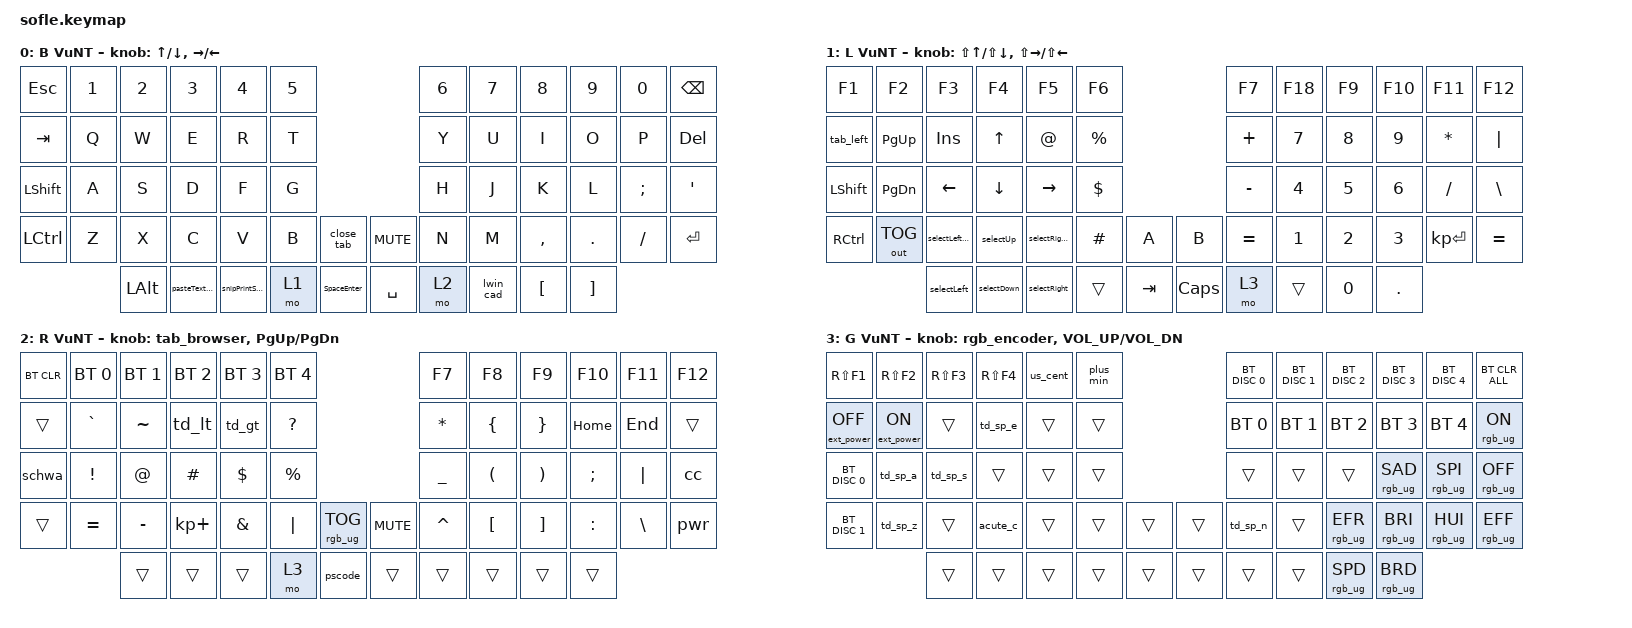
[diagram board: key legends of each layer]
/*
 * Copyright (c) 2020 The ZMK Contributors
 *
 * SPDX-License-Identifier: MIT
 */

#include <behaviors.dtsi>
#include <dt-bindings/zmk/bt.h>
#include <dt-bindings/zmk/ext_power.h>
#include <dt-bindings/zmk/keys.h>
#include <dt-bindings/zmk/outputs.h>
#include <dt-bindings/zmk/rgb.h>
#include <dt-bindings/zmk/pointing.h>
//Encoder Support
//Alps Alpine EC11N1524402: 30 Detent, 15PPR, 2 Channel, Quadrature, 15000 Cycle

/ {
    left_encoder: encoder_left {
        compatible = "alps,ec11";
        a-gpios = <&pro_micro 21 (GPIO_ACTIVE_HIGH | GPIO_PULL_UP)>;
        b-gpios = <&pro_micro 20 (GPIO_ACTIVE_HIGH | GPIO_PULL_UP)>;
        steps = <60>;
    };

    right_encoder: encoder_right {
        compatible = "alps,ec11";
        a-gpios = <&pro_micro 21 (GPIO_ACTIVE_HIGH | GPIO_PULL_UP)>;
        b-gpios = <&pro_micro 20 (GPIO_ACTIVE_HIGH | GPIO_PULL_UP)>;
        steps = <60>;
    };

    sensors {
        compatible = "zmk,keymap-sensors";
        sensors = <&left_encoder &right_encoder>;
        triggers-per-rotation = <30>;
    };
};

/ {
    macros {
        // System and Power

        tm: tm {
            compatible = "zmk,behavior-macro";
            #binding-cells = <0>;
            bindings =
                <&macro_press>,
                <&kp LCTRL &kp LSHFT>,
                <&macro_tap>,
                <&kp ESC>,
                <&macro_release>,
                <&kp LCTRL &kp LSHFT &kp RCTRL &kp K_SCROLL_DOWN &kp RCTRL &kp K_SCROLL_UP>;
        };

        cad: cad {
            compatible = "zmk,behavior-macro";
            #binding-cells = <0>;
            bindings =
                <&macro_press>,
                <&kp LCTRL &kp LALT &kp DEL>,
                <&macro_release>,
                <&kp LCTRL &kp LALT &kp DEL>;
        };

        slp: slp {
            compatible = "zmk,behavior-macro";
            #binding-cells = <0>;
            bindings =
                <&macro_press>,
                <&kp LGUI>,
                <&macro_tap>,
                <&kp X>,
                <&macro_release>,
                <&kp LGUI>,
                <&macro_tap>,
                <&kp U &kp S>;
        };

        rst: rst {
            compatible = "zmk,behavior-macro";
            #binding-cells = <0>;
            bindings =
                <&macro_press>,
                <&kp LGUI>,
                <&macro_tap>,
                <&kp X>,
                <&macro_release>,
                <&kp LGUI>,
                <&macro_tap>,
                <&kp U &kp R>;
        };

        off: off {
            compatible = "zmk,behavior-macro";
            #binding-cells = <0>;
            bindings =
                <&macro_press>,
                <&kp LGUI>,
                <&macro_tap>,
                <&kp X>,
                <&macro_release>,
                <&kp LGUI>,
                <&macro_tap>,
                <&kp U &kp U>;
        };

        // Microphones

        teams_mute: teams_mute {
            compatible = "zmk,behavior-macro";
            #binding-cells = <0>;
            tap-ms = <0>;
            wait-ms = <0>;
            bindings =
                <&macro_tap>,
                <&bt BT_SEL 1>,
                <&macro_wait_time 100>,
                <&macro_press>,
                <&kp LGUI>,
                <&macro_tap>,
                <&kp N3>,
                <&macro_release>,
                <&kp LGUI>,
                <&macro_wait_time 50>,
                <&macro_press>,
                <&kp LCTRL &kp LSHFT>,
                <&macro_tap>,
                <&kp M>,
                <&macro_release>,
                <&kp LCTRL &kp LSHFT>;
        };

        // Browser Controls

        tab_right: tab_right {
            compatible = "zmk,behavior-macro";
            #binding-cells = <0>;
            wait-ms = <0>;
            tap-ms = <0>;
            bindings =
                <&macro_press>,
                <&kp LCTRL>,
                <&macro_tap>,
                <&kp TAB>,
                <&macro_release>,
                <&kp LCTRL>;
        };

        tab_left: tab_left {
            compatible = "zmk,behavior-macro";
            #binding-cells = <0>;
            wait-ms = <0>;
            tap-ms = <0>;
            bindings =
                <&macro_press>,
                <&kp LCTRL &kp LSHFT>,
                <&macro_tap>,
                <&kp TAB>,
                <&macro_release>,
                <&kp LCTRL &kp LSHFT>;
        };

        close_tab: close_tab {
            compatible = "zmk,behavior-macro";
            #binding-cells = <0>;
            wait-ms = <0>;
            tap-ms = <0>;
            bindings =
                <&macro_press>,
                <&kp LCTRL>,
                <&macro_tap>,
                <&kp W>,
                <&macro_release>,
                <&kp LCTRL>;
        };

        //Unicode Special Characters
        //Need regkey HKEY_CURRENT_USER\Control Panel\Input Method, REG_SZ EnableHexNumpad = 1
        //Symbols       

        smfada_a: smfada_a {
            compatible = "zmk,behavior-macro";
            #binding-cells = <0>;
            tap-ms = <0>;
            wait-ms = <0>;
            bindings =
                <&macro_press>,
                <&kp LALT>,
                <&macro_tap>,
                <&kp KP_PLUS &kp KP_N0 &kp KP_N0 &kp E &kp KP_N1>,
                <&macro_release>,
                <&kp LALT>;
        };

        lfada_a: lfada_a {
            compatible = "zmk,behavior-macro";
            #binding-cells = <0>;
            tap-ms = <0>;
            wait-ms = <0>;
            bindings =
                <&macro_press>,
                <&kp LALT>,
                <&macro_tap>,
                <&kp KP_PLUS &kp KP_N0 &kp KP_N0 &kp C &kp KP_N1>,
                <&macro_release>,
                <&kp LALT>;
        };

        smumlaut_a: smumlaut_a {
            compatible = "zmk,behavior-macro";
            #binding-cells = <0>;
            tap-ms = <0>;
            wait-ms = <0>;
            bindings =
                <&macro_press>,
                <&kp LALT>,
                <&macro_tap>,
                <&kp KP_PLUS &kp KP_N0 &kp KP_N0 &kp E &kp KP_N4>,
                <&macro_release>,
                <&kp LALT>;
        };

        lumlaut_a: lumlaut_a {
            compatible = "zmk,behavior-macro";
            #binding-cells = <0>;
            tap-ms = <0>;
            wait-ms = <0>;
            bindings =
                <&macro_press>,
                <&kp LALT>,
                <&macro_tap>,
                <&kp KP_PLUS &kp KP_N0 &kp KP_N0 &kp C &kp KP_N4>,
                <&macro_release>,
                <&kp LALT>;
        };

        smlat_ae: smlat_ae {
            compatible = "zmk,behavior-macro";
            #binding-cells = <0>;
            tap-ms = <0>;
            wait-ms = <0>;
            bindings =
                <&macro_press>,
                <&kp LALT>,
                <&macro_tap>,
                <&kp KP_PLUS &kp KP_N0 &kp KP_N0 &kp E &kp KP_N6>,
                <&macro_release>,
                <&kp LALT>;
        };

        lglat_ae: lglat_ae {
            compatible = "zmk,behavior-macro";
            #binding-cells = <0>;
            tap-ms = <0>;
            wait-ms = <0>;
            bindings =
                <&macro_press>,
                <&kp LALT>,
                <&macro_tap>,
                <&kp KP_PLUS &kp KP_N0 &kp KP_N0 &kp C &kp KP_N6>,
                <&macro_release>,
                <&kp LALT>;
        };

        smfada_e: smfada_e {
            compatible = "zmk,behavior-macro";
            #binding-cells = <0>;
            tap-ms = <0>;
            wait-ms = <0>;
            bindings =
                <&macro_press>,
                <&kp LALT>,
                <&macro_tap>,
                <&kp KP_PLUS &kp KP_N0 &kp KP_N0 &kp E &kp KP_N9>,
                <&macro_release>,
                <&kp LALT>;
        };

        lfada_e: lfada_e {
            compatible = "zmk,behavior-macro";
            #binding-cells = <0>;
            tap-ms = <0>;
            wait-ms = <0>;
            bindings =
                <&macro_press>,
                <&kp LALT>,
                <&macro_tap>,
                <&kp KP_PLUS &kp KP_N0 &kp KP_N0 &kp C &kp KP_N9>,
                <&macro_release>,
                <&kp LALT>;
        };

        smfada_i: smfada_i {
            compatible = "zmk,behavior-macro";
            #binding-cells = <0>;
            tap-ms = <0>;
            wait-ms = <0>;
            bindings =
                <&macro_press>,
                <&kp LALT>,
                <&macro_tap>,
                <&kp KP_PLUS &kp KP_N0 &kp KP_N0 &kp E &kp D>,
                <&macro_release>,
                <&kp LALT>;
        };

        lfada_i: lfada_i {
            compatible = "zmk,behavior-macro";
            #binding-cells = <0>;
            tap-ms = <0>;
            wait-ms = <0>;
            bindings =
                <&macro_press>,
                <&kp LALT>,
                <&macro_tap>,
                <&kp KP_PLUS &kp KP_N0 &kp KP_N0 &kp C &kp D>,
                <&macro_release>,
                <&kp LALT>;
        };

        smfada_o: smfada_o {
            compatible = "zmk,behavior-macro";
            #binding-cells = <0>;
            tap-ms = <0>;
            wait-ms = <0>;
            bindings =
                <&macro_press>,
                <&kp LALT>,
                <&macro_tap>,
                <&kp KP_PLUS &kp KP_N0 &kp KP_N0 &kp F &kp KP_N3>,
                <&macro_release>,
                <&kp LALT>;
        };

        lfada_o: lfada_o {
            compatible = "zmk,behavior-macro";
            #binding-cells = <0>;
            tap-ms = <0>;
            wait-ms = <0>;
            bindings =
                <&macro_press>,
                <&kp LALT>,
                <&macro_tap>,
                <&kp KP_PLUS &kp KP_N0 &kp KP_N0 &kp D &kp KP_N3>,
                <&macro_release>,
                <&kp LALT>;
        };

        smumlaut_o: smumlaut_o {
            compatible = "zmk,behavior-macro";
            #binding-cells = <0>;
            tap-ms = <0>;
            wait-ms = <0>;
            bindings =
                <&macro_press>,
                <&kp LALT>,
                <&macro_tap>,
                <&kp KP_PLUS &kp KP_N0 &kp KP_N0 &kp F &kp KP_N6>,
                <&macro_release>,
                <&kp LALT>;
        };

        lumlaut_o: lumlaut_o {
            compatible = "zmk,behavior-macro";
            #binding-cells = <0>;
            tap-ms = <0>;
            wait-ms = <0>;
            bindings =
                <&macro_press>,
                <&kp LALT>,
                <&macro_tap>,
                <&kp KP_PLUS &kp KP_N0 &kp KP_N0 &kp D &kp KP_N6>,
                <&macro_release>,
                <&kp LALT>;
        };

        smfada_u: smfada_u {
            compatible = "zmk,behavior-macro";
            #binding-cells = <0>;
            tap-ms = <0>;
            wait-ms = <0>;
            bindings =
                <&macro_press>,
                <&kp LALT>,
                <&macro_tap>,
                <&kp KP_PLUS &kp KP_N0 &kp KP_N0 &kp F &kp A>,
                <&macro_release>,
                <&kp LALT>;
        };

        lfada_u: lfada_u {
            compatible = "zmk,behavior-macro";
            #binding-cells = <0>;
            tap-ms = <0>;
            wait-ms = <0>;
            bindings =
                <&macro_press>,
                <&kp LALT>,
                <&macro_tap>,
                <&kp KP_PLUS &kp KP_N0 &kp KP_N0 &kp D &kp A>,
                <&macro_release>,
                <&kp LALT>;
        };

        smumlaut_u: smumlaut_u {
            compatible = "zmk,behavior-macro";
            #binding-cells = <0>;
            tap-ms = <0>;
            wait-ms = <0>;
            bindings =
                <&macro_press>,
                <&kp LALT>,
                <&macro_tap>,
                <&kp KP_PLUS &kp KP_N0 &kp KP_N0 &kp F &kp C>,
                <&macro_release>,
                <&kp LALT>;
        };

        lumlaut_u: lumlaut_u {
            compatible = "zmk,behavior-macro";
            #binding-cells = <0>;
            tap-ms = <0>;
            wait-ms = <0>;
            bindings =
                <&macro_press>,
                <&kp LALT>,
                <&macro_tap>,
                <&kp KP_PLUS &kp KP_N0 &kp KP_N0 &kp D &kp C>,
                <&macro_release>,
                <&kp LALT>;
        };

        smtil_n: smtil_n {
            compatible = "zmk,behavior-macro";
            #binding-cells = <0>;
            tap-ms = <0>;
            wait-ms = <0>;
            bindings =
                <&macro_press>,
                <&kp LALT>,
                <&macro_tap>,
                <&kp KP_PLUS &kp KP_N0 &kp KP_N0 &kp F &kp KP_N1>,
                <&macro_release>,
                <&kp LALT>;
        };

        ltil_n: ltil_n {
            compatible = "zmk,behavior-macro";
            #binding-cells = <0>;
            tap-ms = <0>;
            wait-ms = <0>;
            bindings =
                <&macro_press>,
                <&kp LALT>,
                <&macro_tap>,
                <&kp KP_PLUS &kp KP_N0 &kp KP_N0 &kp D &kp KP_N1>,
                <&macro_release>,
                <&kp LALT>;
        };

        essette_s: essette_s {
            compatible = "zmk,behavior-macro";
            #binding-cells = <0>;
            tap-ms = <0>;
            wait-ms = <0>;
            bindings =
                <&macro_press>,
                <&kp LALT>,
                <&macro_tap>,
                <&kp KP_PLUS &kp KP_N0 &kp KP_N0 &kp D &kp F>,
                <&macro_release>,
                <&kp LALT>;
        };

        euro: euro {
            compatible = "zmk,behavior-macro";
            #binding-cells = <0>;
            tap-ms = <0>;
            wait-ms = <0>;
            bindings =
                <&macro_press>,
                <&kp LALT>,
                <&macro_tap>,
                <&kp KP_PLUS &kp KP_N2 &kp KP_N0 &kp A &kp C>,
                <&macro_release>,
                <&kp LALT>;
        };

        us_cent: us_cent {
            compatible = "zmk,behavior-macro";
            #binding-cells = <0>;
            tap-ms = <0>;
            wait-ms = <0>;
            bindings =
                <&macro_press>,
                <&kp LALT>,
                <&macro_tap>,
                <&kp KP_PLUS &kp KP_N0 &kp KP_N0 &kp A &kp KP_N2>,
                <&macro_release>,
                <&kp LALT>;
        };

        uk_pnd: uk_pnd {
            compatible = "zmk,behavior-macro";
            #binding-cells = <0>;
            tap-ms = <0>;
            wait-ms = <0>;
            bindings =
                <&macro_press>,
                <&kp LALT>,
                <&macro_tap>,
                <&kp KP_PLUS &kp KP_N0 &kp KP_N0 &kp A &kp KP_N3>,
                <&macro_release>,
                <&kp LALT>;
        };

        degree: degree {
            compatible = "zmk,behavior-macro";
            #binding-cells = <0>;
            tap-ms = <0>;
            wait-ms = <0>;
            bindings =
                <&macro_press>,
                <&kp LALT>,
                <&macro_tap>,
                <&kp KP_PLUS &kp KP_N0 &kp KP_N0 &kp B &kp KP_N0>,
                <&macro_release>,
                <&kp LALT>;
        };

        inv_exc: inv_exc {
            compatible = "zmk,behavior-macro";
            #binding-cells = <0>;
            tap-ms = <0>;
            wait-ms = <0>;
            bindings =
                <&macro_press>,
                <&kp LALT>,
                <&macro_tap>,
                <&kp KP_PLUS &kp KP_N0 &kp KP_N0 &kp A &kp KP_N1>,
                <&macro_release>,
                <&kp LALT>;
        };

        inv_ques: inv_ques {
            compatible = "zmk,behavior-macro";
            #binding-cells = <0>;
            tap-ms = <0>;
            wait-ms = <0>;
            bindings =
                <&macro_press>,
                <&kp LALT>,
                <&macro_tap>,
                <&kp KP_PLUS &kp KP_N0 &kp KP_N0 &kp B &kp F>,
                <&macro_release>,
                <&kp LALT>;
        };

        plus_min: plus_min {
            compatible = "zmk,behavior-macro";
            #binding-cells = <0>;
            tap-ms = <0>;
            wait-ms = <0>;
            bindings =
                <&macro_press>,
                <&kp LALT>,
                <&macro_tap>,
                <&kp KP_PLUS &kp KP_N0 &kp KP_N0 &kp B &kp KP_N1>,
                <&macro_release>,
                <&kp LALT>;
        };

        //IPA

        schwa: schwa {
            compatible = "zmk,behavior-macro";
            #binding-cells = <0>;
            tap-ms = <0>;
            wait-ms = <0>;
            bindings =
                <&macro_press>,
                <&kp LALT>,
                <&macro_tap>,
                <&kp KP_PLUS &kp KP_N0 &kp KP_N2 &kp KP_N5 &kp KP_N9>,
                <&macro_release>,
                <&kp LALT>;
        };

        //Diacritical Characters

        smogo_a: smogo_a {
            compatible = "zmk,behavior-macro";
            #binding-cells = <0>;
            tap-ms = <0>;
            wait-ms = <0>;
            bindings =
                <&macro_press>,
                <&kp LALT>,
                <&macro_tap>,
                <&kp KP_PLUS &kp KP_N0 &kp KP_N1 &kp KP_N0 &kp KP_N5>,
                <&macro_release>,
                <&kp LALT>;
        };

        logo_a: logo_a {
            compatible = "zmk,behavior-macro";
            #binding-cells = <0>;
            tap-ms = <0>;
            wait-ms = <0>;
            bindings =
                <&macro_press>,
                <&kp LALT>,
                <&macro_tap>,
                <&kp KP_PLUS &kp KP_N0 &kp KP_N1 &kp KP_N0 &kp KP_N4>,
                <&macro_release>,
                <&kp LALT>;
        };

        smogo_e: smogo_e {
            compatible = "zmk,behavior-macro";
            #binding-cells = <0>;
            tap-ms = <0>;
            wait-ms = <0>;
            bindings =
                <&macro_press>,
                <&kp LALT>,
                <&macro_tap>,
                <&kp KP_PLUS &kp KP_N0 &kp KP_N1 &kp KP_N1 &kp KP_N9>,
                <&macro_release>,
                <&kp LALT>;
        };

        logo_e: logo_e {
            compatible = "zmk,behavior-macro";
            #binding-cells = <0>;
            tap-ms = <0>;
            wait-ms = <0>;
            bindings =
                <&macro_press>,
                <&kp LALT>,
                <&macro_tap>,
                <&kp KP_PLUS &kp KP_N0 &kp KP_N1 &kp KP_N1 &kp KP_N8>,
                <&macro_release>,
                <&kp LALT>;
        };

        smacute_c: smacute_c {
            compatible = "zmk,behavior-macro";
            #binding-cells = <0>;
            tap-ms = <0>;
            wait-ms = <0>;
            bindings =
                <&macro_press>,
                <&kp LALT>,
                <&macro_tap>,
                <&kp KP_PLUS &kp KP_N0 &kp KP_N1 &kp KP_N0 &kp KP_N7>,
                <&macro_release>,
                <&kp LALT>;
        };

        lacute_c: lacute_c {
            compatible = "zmk,behavior-macro";
            #binding-cells = <0>;
            tap-ms = <0>;
            wait-ms = <0>;
            bindings =
                <&macro_press>,
                <&kp LALT>,
                <&macro_tap>,
                <&kp KP_PLUS &kp KP_N0 &kp KP_N1 &kp KP_N0 &kp KP_N6>,
                <&macro_release>,
                <&kp LALT>;
        };

        smdark_l: smdark_l {
            compatible = "zmk,behavior-macro";
            #binding-cells = <0>;
            tap-ms = <0>;
            wait-ms = <0>;
            bindings =
                <&macro_press>,
                <&kp LALT>,
                <&macro_tap>,
                <&kp KP_PLUS &kp KP_N0 &kp KP_N1 &kp KP_N4 &kp KP_N2>,
                <&macro_release>,
                <&kp LALT>;
        };

        ldark_l: ldark_l {
            compatible = "zmk,behavior-macro";
            #binding-cells = <0>;
            tap-ms = <0>;
            wait-ms = <0>;
            bindings =
                <&macro_press>,
                <&kp LALT>,
                <&macro_tap>,
                <&kp KP_PLUS &kp KP_N0 &kp KP_N1 &kp KP_N4 &kp KP_N1>,
                <&macro_release>,
                <&kp LALT>;
        };

        smacute_n: smacute_n {
            compatible = "zmk,behavior-macro";
            #binding-cells = <0>;
            tap-ms = <0>;
            wait-ms = <0>;
            bindings =
                <&macro_press>,
                <&kp LALT>,
                <&macro_tap>,
                <&kp KP_PLUS &kp KP_N0 &kp KP_N1 &kp KP_N4 &kp KP_N4>,
                <&macro_release>,
                <&kp LALT>;
        };

        lacute_n: lacute_n {
            compatible = "zmk,behavior-macro";
            #binding-cells = <0>;
            tap-ms = <0>;
            wait-ms = <0>;
            bindings =
                <&macro_press>,
                <&kp LALT>,
                <&macro_tap>,
                <&kp KP_PLUS &kp KP_N0 &kp KP_N1 &kp KP_N4 &kp KP_N3>,
                <&macro_release>,
                <&kp LALT>;
        };

        smacute_s: smacute_s {
            compatible = "zmk,behavior-macro";
            #binding-cells = <0>;
            tap-ms = <0>;
            wait-ms = <0>;
            bindings =
                <&macro_press>,
                <&kp LALT>,
                <&macro_tap>,
                <&kp KP_PLUS &kp KP_N0 &kp KP_N1 &kp KP_N5 &kp B>,
                <&macro_release>,
                <&kp LALT>;
        };

        lacute_s: lacute_s {
            compatible = "zmk,behavior-macro";
            #binding-cells = <0>;
            tap-ms = <0>;
            wait-ms = <0>;
            bindings =
                <&macro_press>,
                <&kp LALT>,
                <&macro_tap>,
                <&kp KP_PLUS &kp KP_N0 &kp KP_N1 &kp KP_N5 &kp A>,
                <&macro_release>,
                <&kp LALT>;
        };

        smacute_z: smacute_z {
            compatible = "zmk,behavior-macro";
            #binding-cells = <0>;
            tap-ms = <0>;
            wait-ms = <0>;
            bindings =
                <&macro_press>,
                <&kp LALT>,
                <&macro_tap>,
                <&kp KP_PLUS &kp KP_N0 &kp KP_N1 &kp KP_N7 &kp A>,
                <&macro_release>,
                <&kp LALT>;
        };

        lacute_z: lacute_z {
            compatible = "zmk,behavior-macro";
            #binding-cells = <0>;
            tap-ms = <0>;
            wait-ms = <0>;
            bindings =
                <&macro_press>,
                <&kp LALT>,
                <&macro_tap>,
                <&kp KP_PLUS &kp KP_N0 &kp KP_N1 &kp KP_N7 &kp KP_N9>,
                <&macro_release>,
                <&kp LALT>;
        };

        smdot_z: smdot_z {
            compatible = "zmk,behavior-macro";
            #binding-cells = <0>;
            tap-ms = <0>;
            wait-ms = <0>;
            bindings =
                <&macro_press>,
                <&kp LALT>,
                <&macro_tap>,
                <&kp KP_PLUS &kp KP_N0 &kp KP_N1 &kp KP_N7 &kp C>,
                <&macro_release>,
                <&kp LALT>;
        };

        ldot_z: ldot_z {
            compatible = "zmk,behavior-macro";
            #binding-cells = <0>;
            tap-ms = <0>;
            wait-ms = <0>;
            bindings =
                <&macro_press>,
                <&kp LALT>,
                <&macro_tap>,
                <&kp KP_PLUS &kp KP_N0 &kp KP_N1 &kp KP_N7 &kp B>,
                <&macro_release>,
                <&kp LALT>;
        };

        // Fractions

        one_half: one_half {
            compatible = "zmk,behavior-macro";
            #binding-cells = <0>;
            tap-ms = <0>;
            wait-ms = <0>;
            bindings =
                <&macro_press>,
                <&kp LALT>,
                <&macro_tap>,
                <&kp KP_PLUS &kp KP_N0 &kp KP_N0 &kp B &kp D>,
                <&macro_release>,
                <&kp LALT>;
        };

        one_third: one_third {
            compatible = "zmk,behavior-macro";
            #binding-cells = <0>;
            tap-ms = <0>;
            wait-ms = <0>;
            bindings =
                <&macro_press>,
                <&kp LALT>,
                <&macro_tap>,
                <&kp KP_PLUS &kp KP_N2 &kp KP_N1 &kp KP_N5 &kp KP_N3>,
                <&macro_release>,
                <&kp LALT>;
        };

        one_fourth: one_fourth {
            compatible = "zmk,behavior-macro";
            #binding-cells = <0>;
            tap-ms = <0>;
            wait-ms = <0>;
            bindings =
                <&macro_press>,
                <&kp LALT>,
                <&macro_tap>,
                <&kp KP_PLUS &kp KP_N0 &kp KP_N0 &kp B &kp C>,
                <&macro_release>,
                <&kp LALT>;
        };

        one_eighth: one_eighth {
            compatible = "zmk,behavior-macro";
            #binding-cells = <0>;
            tap-ms = <0>;
            wait-ms = <0>;
            bindings =
                <&macro_press>,
                <&kp LALT>,
                <&macro_tap>,
                <&kp KP_PLUS &kp KP_N2 &kp KP_N1 &kp KP_N5 &kp B>,
                <&macro_release>,
                <&kp LALT>;
        };

        two_thirds: two_thirds {
            compatible = "zmk,behavior-macro";
            #binding-cells = <0>;
            tap-ms = <0>;
            wait-ms = <0>;
            bindings =
                <&macro_press>,
                <&kp LALT>,
                <&macro_tap>,
                <&kp KP_PLUS &kp KP_N2 &kp KP_N1 &kp KP_N5 &kp KP_N4>,
                <&macro_release>,
                <&kp LALT>;
        };

        three_fourths: three_fourths {
            compatible = "zmk,behavior-macro";
            #binding-cells = <0>;
            tap-ms = <0>;
            wait-ms = <0>;
            bindings =
                <&macro_press>,
                <&kp LALT>,
                <&macro_tap>,
                <&kp KP_PLUS &kp KP_N0 &kp KP_N0 &kp B &kp E>,
                <&macro_release>,
                <&kp LALT>;
        };

        three_eighths: three_eighths {
            compatible = "zmk,behavior-macro";
            #binding-cells = <0>;
            tap-ms = <0>;
            wait-ms = <0>;
            bindings =
                <&macro_press>,
                <&kp LALT>,
                <&macro_tap>,
                <&kp KP_PLUS &kp KP_N2 &kp KP_N1 &kp KP_N5 &kp C>,
                <&macro_release>,
                <&kp LALT>;
        };

        five_eighths: five_eighths {
            compatible = "zmk,behavior-macro";
            #binding-cells = <0>;
            tap-ms = <0>;
            wait-ms = <0>;
            bindings =
                <&macro_press>,
                <&kp LALT>,
                <&macro_tap>,
                <&kp KP_PLUS &kp KP_N2 &kp KP_N1 &kp KP_N5 &kp D>,
                <&macro_release>,
                <&kp LALT>;
        };

        seven_eighths: seven_eighths {
            compatible = "zmk,behavior-macro";
            #binding-cells = <0>;
            tap-ms = <0>;
            wait-ms = <0>;
            bindings =
                <&macro_press>,
                <&kp LALT>,
                <&macro_tap>,
                <&kp KP_PLUS &kp KP_N2 &kp KP_N1 &kp KP_N5 &kp E>,
                <&macro_release>,
                <&kp LALT>;
        };

        // Operators

        less_equ: less_equ {
            compatible = "zmk,behavior-macro";
            #binding-cells = <0>;
            tap-ms = <0>;
            wait-ms = <0>;
            bindings =
                <&macro_press>,
                <&kp LALT>,
                <&macro_tap>,
                <&kp KP_PLUS &kp KP_N2 &kp KP_N2 &kp KP_N6 &kp KP_N4>,
                <&macro_release>,
                <&kp LALT>;
        };

        gtr_equ: gtr_equ {
            compatible = "zmk,behavior-macro";
            #binding-cells = <0>;
            tap-ms = <0>;
            wait-ms = <0>;
            bindings =
                <&macro_press>,
                <&kp LALT>,
                <&macro_tap>,
                <&kp KP_PLUS &kp KP_N2 &kp KP_N2 &kp KP_N6 &kp KP_N5>,
                <&macro_release>,
                <&kp LALT>;
        };

        not_equ: not_equ {
            compatible = "zmk,behavior-macro";
            #binding-cells = <0>;
            tap-ms = <0>;
            wait-ms = <0>;
            bindings =
                <&macro_press>,
                <&kp LALT>,
                <&macro_tap>,
                <&kp KP_PLUS &kp KP_N2 &kp KP_N2 &kp KP_N6 &kp KP_N0>,
                <&macro_release>,
                <&kp LALT>;
        };

        alm_equ: alm_equ {
            compatible = "zmk,behavior-macro";
            #binding-cells = <0>;
            tap-ms = <0>;
            wait-ms = <0>;
            bindings =
                <&macro_press>,
                <&kp LALT>,
                <&macro_tap>,
                <&kp KP_PLUS &kp KP_N2 &kp KP_N2 &kp KP_N4 &kp KP_N8>,
                <&macro_release>,
                <&kp LALT>;
        };

        dbl_left: dbl_left {
            compatible = "zmk,behavior-macro";
            #binding-cells = <0>;
            tap-ms = <0>;
            wait-ms = <0>;
            bindings =
                <&macro_press>,
                <&kp LALT>,
                <&macro_tap>,
                <&kp KP_PLUS &kp KP_N0 &kp KP_N0 &kp A &kp B>,
                <&macro_release>,
                <&kp LALT>;
        };

        dbl_right: dbl_right {
            compatible = "zmk,behavior-macro";
            #binding-cells = <0>;
            tap-ms = <0>;
            wait-ms = <0>;
            bindings =
                <&macro_press>,
                <&kp LALT>,
                <&macro_tap>,
                <&kp KP_PLUS &kp KP_N0 &kp KP_N0 &kp B &kp B>,
                <&macro_release>,
                <&kp LALT>;
        };

        zoomin: zoomin {
            compatible = "zmk,behavior-macro";
            #binding-cells = <0>;
            bindings =
                <&macro_press>,
                <&kp RCTRL>,
                <&macro_tap>,
                <&kp PLUS>,
                <&macro_release>,
                <&kp RCTRL>;

        };

        zoomout: zoomout {
            compatible = "zmk,behavior-macro";
            #binding-cells = <0>;
            bindings =
                <&macro_press>,
                <&kp RCTRL>,
                <&macro_tap>,
                <&kp MINUS>,
                <&macro_release>,
                <&kp RCTRL>;

        };

        selectUp: selectUp {
            compatible = "zmk,behavior-macro";
            #binding-cells = <0>;
            bindings =
                <&macro_press>,
                <&kp LEFT_SHIFT>,
                <&macro_tap>,
                <&kp UP_ARROW>,
                <&macro_release>,
                <&kp LEFT_SHIFT>;

        };

        selectDown: selectDown {
            compatible = "zmk,behavior-macro";
            #binding-cells = <0>;
            bindings =
                <&macro_press>,
                <&kp LEFT_SHIFT>,
                <&macro_tap>,
                <&kp DOWN_ARROW>,
                <&macro_release>,
                <&kp LEFT_SHIFT>;

        };

        selectLeft: selectLeft {
            compatible = "zmk,behavior-macro";
            #binding-cells = <0>;
            bindings =
                <&macro_press>,
                <&kp LEFT_SHIFT>,
                <&macro_tap>,
                <&kp LEFT_ARROW>,
                <&macro_release>,
                <&kp LEFT_SHIFT>;

        };

        selectRight: selectRight {
            compatible = "zmk,behavior-macro";
            #binding-cells = <0>;
            bindings =
                <&macro_press>,
                <&kp LEFT_SHIFT>,
                <&macro_tap>,
                <&kp RIGHT_ARROW>,
                <&macro_release>,
                <&kp LEFT_SHIFT>;

        };

        selectLeftWord: selectLeftWord {
            compatible = "zmk,behavior-macro";
            #binding-cells = <0>;
            bindings =
                <&macro_press>,
                <&kp LEFT_SHIFT &kp RCTRL>,
                <&macro_tap>,
                <&kp LEFT_ARROW>,
                <&macro_release>,
                <&kp LEFT_SHIFT &kp RCTRL>;

        };

        selectRightWord: selectRightWord {
            compatible = "zmk,behavior-macro";
            #binding-cells = <0>;
            bindings =
                <&macro_press>,
                <&kp LEFT_SHIFT &kp RCTRL>,
                <&macro_tap>,
                <&kp RIGHT_ARROW>,
                <&macro_release>,
                <&kp LEFT_SHIFT &kp RCTRL>;

        };

        pasteTextOnly: pasteTextOnly {
            compatible = "zmk,behavior-macro";
            #binding-cells = <0>;
            bindings =
                <&macro_press>,
                <&kp LEFT_SHIFT &kp RCTRL>,
                <&macro_tap>,
                <&kp V>,
                <&macro_release>,
                <&kp LEFT_SHIFT &kp RCTRL>;

        };

        snipScreen: snipScreen {
            compatible = "zmk,behavior-macro";
            #binding-cells = <0>;
            bindings =
                <&macro_press>,
                <&kp LS(LEFT_WIN)>,
                <&macro_tap>,
                <&kp S>,
                <&macro_release>,
                <&kp LS(LEFT_WIN)>;

        };

        pastePowerpoint: pastePowerpoint {
            compatible = "zmk,behavior-macro";
            #binding-cells = <0>;
            bindings =
                <&macro_press>,
                <&kp LEFT_ALT>,
                <&macro_tap>,
                <&kp H>,
                <&macro_tap>,
                <&kp V>,
                <&macro_tap>,
                <&kp T>,
                <&macro_release>,
                <&kp LEFT_ALT>;

            wait-ms = <1>;
            tap-ms = <1>;
        };
    };
};

//Combos, note that key listing is zero indexed
//lshift: 36
//rshift: 49

/ {
    combos {
        compatible = "zmk,combos";

        // Characters

        combo_sm_lat_ae {
            timeout-ms = <200>;
            layers = <3>;
            key-positions = <15 25>;
            bindings = <&smlat_ae>;
        };

        combo_lg_lat_ae {
            timeout-ms = <200>;
            layers = <3>;
            key-positions = <15 25 49>;
            bindings = <&lglat_ae>;
        };

        // Fractions

        combo_one_half {
            timeout-ms = <20>;
            layers = <0>;
            key-positions = <1 2>;
            bindings = <&one_half>;
        };

        combo_one_third {
            timeout-ms = <20>;
            layers = <0>;
            key-positions = <1 3>;
            bindings = <&one_third>;
        };

        combo_one_fourth {
            timeout-ms = <20>;
            layers = <0>;
            key-positions = <1 4>;
            bindings = <&one_fourth>;
        };

        combo_one_eighth {
            timeout-ms = <20>;
            layers = <0>;
            key-positions = <1 8>;
            bindings = <&one_eighth>;
        };

        combo_two_thirds {
            timeout-ms = <20>;
            layers = <0>;
            key-positions = <2 3>;
            bindings = <&two_thirds>;
        };

        combo_three_fourths {
            timeout-ms = <20>;
            layers = <0>;
            key-positions = <3 4>;
            bindings = <&three_fourths>;
        };

        combo_three_eighths {
            timeout-ms = <20>;
            layers = <0>;
            key-positions = <3 8>;
            bindings = <&three_eighths>;
        };

        combo_five_eighths {
            timeout-ms = <20>;
            layers = <0>;
            key-positions = <5 8>;
            bindings = <&five_eighths>;
        };

        combo_seven_eighths {
            timeout-ms = <20>;
            layers = <0>;
            key-positions = <7 8>;
            bindings = <&seven_eighths>;
        };

        // Operators

        combo_less_equal {
            timeout-ms = <200>;
            layers = <2>;
            key-positions = <15 37>;
            bindings = <&less_equ>;
        };

        combo_gtr_equal {
            timeout-ms = <200>;
            layers = <2>;
            key-positions = <16 37>;
            bindings = <&gtr_equ>;
        };

        combo_not_equal {
            timeout-ms = <200>;
            layers = <2>;
            key-positions = <25 37>;
            bindings = <&not_equ>;
        };

        combo_almost_equal {
            timeout-ms = <200>;
            layers = <2>;
            key-positions = <14 37>;
            bindings = <&alm_equ>;
        };
    };
};

// Mod Morphs, Encoder, Tap-Dances

/ {
    behaviors {
        // Mod Morph
        // RGB

        rgb_bri_sat_inc: rgb_bri_sat_inc {
            compatible = "zmk,behavior-mod-morph";
            #binding-cells = <0>;
            bindings = <&rgb_ug RGB_SAI>, <&rgb_ug RGB_BRI>;

            mods = <(MOD_LALT|MOD_RALT)>;
        };

        rgb_bri_sat_dec: rgb_bri_sat_dec {
            compatible = "zmk,behavior-mod-morph";
            #binding-cells = <0>;
            bindings = <&rgb_ug RGB_SAD>, <&rgb_ug RGB_BRD>;

            mods = <(MOD_LALT|MOD_RALT)>;
        };

        rgb_inc: rgb_inc {
            compatible = "zmk,behavior-mod-morph";
            #binding-cells = <0>;
            bindings = <&rgb_ug RGB_HUI>, <&rgb_bri_sat_inc>;

            mods = <(MOD_LSFT|MOD_RSFT|MOD_LCTL|MOD_RCTL)>;
        };

        rgb_dec: rgb_dec {
            compatible = "zmk,behavior-mod-morph";
            #binding-cells = <0>;
            bindings = <&rgb_ug RGB_HUD>, <&rgb_bri_sat_dec>;

            mods = <(MOD_LSFT|MOD_RSFT)>;
        };

        // System Functions  

        ret_menu: ret_menu {
            compatible = "zmk,behavior-mod-morph";
            #binding-cells = <0>;
            bindings = <&kp RET>, <&kp K_APPLICATION>;

            mods = <(MOD_LSFT|MOD_RSFT)>;
        };

        // Special Characters - Capitalizations

        fada_a: fada_a {
            compatible = "zmk,behavior-mod-morph";
            #binding-cells = <0>;
            bindings = <&smfada_a>, <&lfada_a>;

            mods = <(MOD_LSFT|MOD_RSFT)>;
        };

        ogonek_a: ogonek_a {
            compatible = "zmk,behavior-mod-morph";
            #binding-cells = <0>;
            bindings = <&smogo_a>, <&logo_a>;

            mods = <(MOD_LSFT|MOD_RSFT)>;
        };

        umlaut_a: umlaut_a {
            compatible = "zmk,behavior-mod-morph";
            #binding-cells = <0>;
            bindings = <&smumlaut_a>, <&lumlaut_a>;

            mods = <(MOD_LSFT|MOD_RSFT)>;
        };

        fada_e: fada_e {
            compatible = "zmk,behavior-mod-morph";
            #binding-cells = <0>;
            bindings = <&smfada_e>, <&lfada_e>;

            mods = <(MOD_LSFT|MOD_RSFT)>;
        };

        ogonek_e: ogonek_e {
            compatible = "zmk,behavior-mod-morph";
            #binding-cells = <0>;
            bindings = <&smogo_e>, <&logo_e>;

            mods = <(MOD_LSFT|MOD_RSFT)>;
        };

        fada_i: fada_i {
            compatible = "zmk,behavior-mod-morph";
            #binding-cells = <0>;
            bindings = <&smfada_i>, <&lfada_i>;

            mods = <(MOD_LSFT|MOD_RSFT)>;
        };

        fada_o: fada_o {
            compatible = "zmk,behavior-mod-morph";
            #binding-cells = <0>;
            bindings = <&smfada_o>, <&lfada_o>;

            mods = <(MOD_LSFT|MOD_RSFT)>;
        };

        umlaut_o: umlaut_o {
            compatible = "zmk,behavior-mod-morph";
            #binding-cells = <0>;
            bindings = <&smumlaut_o>, <&lumlaut_o>;

            mods = <(MOD_LSFT|MOD_RSFT)>;
        };

        fada_u: fada_u {
            compatible = "zmk,behavior-mod-morph";
            #binding-cells = <0>;
            bindings = <&smfada_u>, <&lfada_u>;

            mods = <(MOD_LSFT|MOD_RSFT)>;
        };

        umlaut_u: umlaut_u {
            compatible = "zmk,behavior-mod-morph";
            #binding-cells = <0>;
            bindings = <&smumlaut_u>, <&lumlaut_u>;

            mods = <(MOD_LSFT|MOD_RSFT)>;
        };

        acute_c: acute_c {
            compatible = "zmk,behavior-mod-morph";
            #binding-cells = <0>;
            bindings = <&smacute_c>, <&lacute_c>;

            mods = <(MOD_LSFT|MOD_RSFT)>;
        };

        dark_l: dark_l {
            compatible = "zmk,behavior-mod-morph";
            #binding-cells = <0>;
            bindings = <&smdark_l>, <&ldark_l>;

            mods = <(MOD_LSFT|MOD_RSFT)>;
        };

        acute_n: acute_n {
            compatible = "zmk,behavior-mod-morph";
            #binding-cells = <0>;
            bindings = <&smacute_n>, <&lacute_n>;

            mods = <(MOD_LSFT|MOD_RSFT)>;
        };

        tilde_n: tilde_n {
            compatible = "zmk,behavior-mod-morph";
            #binding-cells = <0>;
            bindings = <&smtil_n>, <&ltil_n>;

            mods = <(MOD_LSFT|MOD_RSFT)>;
        };

        acute_s: acute_s {
            compatible = "zmk,behavior-mod-morph";
            #binding-cells = <0>;
            bindings = <&smacute_s>, <&lacute_s>;

            mods = <(MOD_LSFT|MOD_RSFT)>;
        };

        acute_z: acute_z {
            compatible = "zmk,behavior-mod-morph";
            #binding-cells = <0>;
            bindings = <&smacute_z>, <&lacute_z>;

            mods = <(MOD_LSFT|MOD_RSFT)>;
        };

        dot_z: dot_z {
            compatible = "zmk,behavior-mod-morph";
            #binding-cells = <0>;
            bindings = <&smdot_z>, <&ldot_z>;

            mods = <(MOD_LSFT|MOD_RSFT)>;
        };

        // Special Characters - Other

        lb_euro: lb_euro {
            compatible = "zmk,behavior-mod-morph";
            #binding-cells = <0>;
            bindings = <&uk_pnd>, <&euro>;

            mods = <(MOD_LSFT|MOD_RSFT)>;
        };

        // Encoder

        rgb_encoder: rgb_encoder {
            compatible = "zmk,behavior-sensor-rotate";
            #sensor-binding-cells = <0>;
            bindings = <&rgb_inc>, <&rgb_dec>;
        };

        tab_browser: tab_browser {
            compatible = "zmk,behavior-sensor-rotate";
            #sensor-binding-cells = <0>;
            bindings = <&tab_left>, <&tab_right>;
        };

        // Tap Dance

        cc: cc {
            compatible = "zmk,behavior-tap-dance";
            #binding-cells = <0>;
            tapping-term-ms = <200>;
            bindings =
                <&rgb_ug RGB_COLOR_HSB(0,100,20)>,
                <&rgb_ug RGB_COLOR_HSB(10,100,20)>,
                <&rgb_ug RGB_COLOR_HSB(35,100,20)>,
                <&rgb_ug RGB_COLOR_HSB(120,100,20)>,
                <&rgb_ug RGB_COLOR_HSB(240,100,20)>,
                <&rgb_ug RGB_COLOR_HSB(285,100,20)>;
        };

        clcw: clcw {
            compatible = "zmk,behavior-tap-dance";
            #binding-cells = <0>;
            tapping-term-ms = <200>;
            bindings = <&kp CLCK>, <&caps_word>;
        };

        lscw: lscw {
            compatible = "zmk,behavior-tap-dance";
            #binding-cells = <0>;
            tapping-term-ms = <200>;
            bindings = <&kp LSHFT>, <&caps_word>;
        };

        rscw: rscw {
            compatible = "zmk,behavior-tap-dance";
            #binding-cells = <0>;
            tapping-term-ms = <200>;
            bindings = <&kp RSHFT>, <&caps_word>;
        };

        stm: stm {
            compatible = "zmk,behavior-tap-dance";
            #binding-cells = <0>;
            tapping-term-ms = <200>;
            bindings = <&kp LSHFT>, <&tm>;
        };

        pwr: pwr {
            compatible = "zmk,behavior-tap-dance";
            #binding-cells = <0>;
            tapping-term-ms = <200>;
            bindings = <&kp RSHFT>, <&slp>, <&rst>, <&off>;
        };

        td_btr: td_btr {
            compatible = "zmk,behavior-tap-dance";
            #binding-cells = <0>;
            tapping-term-ms = <200>;
            bindings = <&kp ESC>, <&bt BT_CLR>;
        };

        pscode: pscode {
            compatible = "zmk,behavior-tap-dance";
            #binding-cells = <0>;
            tapping-term-ms = <200>;
            bindings = <&kp F5>, <&kp F8>;
        };

        td_ll_l3: td_ll_l3 {
            compatible = "zmk,behavior-tap-dance";
            #binding-cells = <0>;
            tapping-term-ms = <200>;
            bindings = <&mo 1>, <&sl 3>;
        };

        td_rl_l3: td_rl_l3 {
            compatible = "zmk,behavior-tap-dance";
            #binding-cells = <0>;
            tapping-term-ms = <200>;
            bindings = <&mo 2>, <&sl 3>;
        };

        td_sp_a: td_sp_a {
            compatible = "zmk,behavior-tap-dance";
            #binding-cells = <0>;
            tapping-term-ms = <250>;
            bindings = <&fada_a>, <&ogonek_a>, <&umlaut_a>;
        };

        td_sp_e: td_sp_e {
            compatible = "zmk,behavior-tap-dance";
            #binding-cells = <0>;
            tapping-term-ms = <250>;
            bindings = <&fada_e>, <&ogonek_e>;
        };

        td_sp_o: td_sp_o {
            compatible = "zmk,behavior-tap-dance";
            #binding-cells = <0>;
            tapping-term-ms = <250>;
            bindings = <&fada_o>, <&umlaut_o>;
        };

        td_sp_u: td_sp_u {
            compatible = "zmk,behavior-tap-dance";
            #binding-cells = <0>;
            tapping-term-ms = <250>;
            bindings = <&fada_u>, <&umlaut_u>;
        };

        td_sp_n: td_sp_n {
            compatible = "zmk,behavior-tap-dance";
            #binding-cells = <0>;
            tapping-term-ms = <250>;
            bindings = <&acute_n>, <&tilde_n>;
        };

        td_sp_s: td_sp_s {
            compatible = "zmk,behavior-tap-dance";
            #binding-cells = <0>;
            tapping-term-ms = <200>;
            bindings = <&acute_s>, <&essette_s>;
        };

        td_sp_z: td_sp_z {
            compatible = "zmk,behavior-tap-dance";
            #binding-cells = <0>;
            tapping-term-ms = <200>;
            bindings = <&acute_z>, <&dot_z>;
        };

        td_lt: td_lt {
            compatible = "zmk,behavior-tap-dance";
            #binding-cells = <0>;
            tapping-term-ms = <200>;
            bindings = <&kp LT>, <&dbl_left>;
        };

        td_gt: td_gt {
            compatible = "zmk,behavior-tap-dance";
            #binding-cells = <0>;
            tapping-term-ms = <200>;
            bindings = <&kp GT>, <&dbl_right>;
        };

        lwin_cad: lwin_cad {
            compatible = "zmk,behavior-tap-dance";
            #binding-cells = <0>;
            tapping-term-ms = <200>;
            bindings = <&kp LGUI>, <&cad>;
        };

        pasteTextWordPower: pasteTextWordPower {
            compatible = "zmk,behavior-tap-dance";
            #binding-cells = <0>;
            tapping-term-ms = <200>;
            bindings = <&kp RS(RC(V))>, <&pastePowerpoint>;
        };

        SpaceEnter: SpaceEnter {
            compatible = "zmk,behavior-tap-dance";
            #binding-cells = <0>;
            tapping-term-ms = <200>;
            bindings = <&kp SPACE>, <&kp ENTER>;
        };

        snipPrintScreenWindows: snipPrintScreenWindows {
            compatible = "zmk,behavior-tap-dance";
            #binding-cells = <0>;
            tapping-term-ms = <200>;
            bindings = <&snipScreen>, <&kp LA(PRINTSCREEN)>;
        };
    };

    keymap {
        compatible = "zmk,keymap";

        default_layer {
            // ------------------------------------------------------------------------------------------------------------
            // |  ESC  |  1  |  2  |  3   |  4   |  5   |                    |  6   |  7    |  8    |  9   |   0   | DEL   |
            // |  TAB  |  Q  |  W  |  E   |  R   |  T   |                    |  Y   |  U    |  I    |  O   |   P   | BKSPC |
            // | CAPS  |  A  |  S  |  D   |  F   |  G   |                    |  H   |  J    |  K    |  L   |   ;   |   '   |
            // | SHIFT |  Z  |  X  |  C   |  V   |  B   |MUTE SPK|  |ClS  TAB|  N   |  M    |  ,    |  .   |   /   | SHIFT |
            //               | GUI | ALT  | CTRL | LOWER|  ENTER |  | SPACE  | RAISE| CTRL  | ALT   | GUI  |

            display-name = "B  VuNT";
            bindings = <
&kp ESC         &kp N1  &kp N2        &kp N3               &kp N4                   &kp N5                             &kp N6  &kp N7     &kp N8            &kp N9             &kp N0    &kp BACKSPACE
&kp TAB         &kp Q   &kp W         &kp E                &kp R                    &kp T                              &kp Y   &kp U      &kp I             &kp O              &kp P     &kp DELETE
&kp LEFT_SHIFT  &kp A   &kp S         &kp D                &kp F                    &kp G                              &kp H   &kp J      &kp K             &kp L              &kp SEMI  &kp SQT
&kp LCTRL       &kp Z   &kp X         &kp C                &kp V                    &kp B   &close_tab     &kp K_MUTE  &kp N   &kp M      &kp COMMA         &kp DOT            &kp FSLH  &kp RETURN
                        &kp LEFT_ALT  &pasteTextWordPower  &snipPrintScreenWindows  &mo 1   &SpaceEnter    &kp SPACE   &mo 2   &lwin_cad  &kp LEFT_BRACKET  &kp RIGHT_BRACKET
            >;

            sensor-bindings =
                <&inc_dec_kp UP_ARROW DOWN_ARROW>,
                <&inc_dec_kp RIGHT_ARROW LEFT_ARROW>;
        };

        lower_layer {
            // ------------------------------------------------------------------------------------------------------------
            // |BTCLR| BT1  | BT2  |  BT3  |  BT4  |  BT5 |                | HUE+ |  =  |   /   |   *  |   -   | EFF+ |
            // |BRI+ | PSCR | INS  |   ↑   |   @   |   %  |                | HUE- |  7  |   8   |   9  |   +   | BKSP |
            // |BRI- | RGB  |  ←   |   ↓   |   →   |   $  |                | SAT+ |  4  |   5   |   6  |   +   | SPD+ |
            // |TASK |BT/USB|      |  PREV |  NEXT |   #  |PL/PS |  |      | SAT- |  1  |   2   |   3  | ENTER | SPD- |
            //              |      |       |       |      |      |  |      |  0   |  0  |   0   |   .  |

            display-name = "L  VuNT";
            bindings = <
&kp F1          &kp F2         &kp F3           &kp F4       &kp F5            &kp F6                          &kp F7     &kp F18  &kp F9  &kp F10  &kp F11       &kp F12
&tab_left       &kp PAGE_UP    &kp INS          &kp UP       &kp AT            &kp PRCNT                       &kp PLUS   &kp N7   &kp N8  &kp N9   &kp ASTERISK  &kp PIPE
&kp LEFT_SHIFT  &kp PAGE_DOWN  &kp LEFT         &kp DOWN     &kp RIGHT         &kp DLLR                        &kp MINUS  &kp N4   &kp N5  &kp N6   &kp SLASH     &kp BSLH
&kp RCTRL       &out OUT_TOG   &selectLeftWord  &selectUp    &selectRightWord  &kp HASH   &kp A      &kp B     &kp EQUAL  &kp N1   &kp N2  &kp N3   &kp KP_ENTER  &kp EQUAL
                               &selectLeft      &selectDown  &selectRight      &trans     &kp TAB    &kp CAPS  &mo 3      &trans   &kp N0  &kp DOT
            >;

            sensor-bindings =
                <&inc_dec_kp LS(UP_ARROW) LS(DOWN_ARROW)>,
                <&inc_dec_kp LS(RIGHT) LS(LEFT_ARROW)>;
        };

        raise_layer {
            // TODO: Some binds are waiting for shifted keycode support.
            // ------------------------------------------------------------------------------------------------------------
            // |    F1 |  F2 |  F3 |  F4  |  F5  |  F6  |                   |  F7  |  F8   |  F9   |  F10 |  F11  |  F12  |
            // |       |  `  |  ~  |  <   |  >   |  ?   |                   |  *   |  {    |  }    | HOME |  END  |       |
            // |       |  !  |  @  |  #   |  $   |  %   |                   |  _   |  (    |  )    |  ;   |   |   | COLOR |
            // |       |  =  |  -  |  +   |  &   |  |   |  RGB   |  |       |  ^   |  [    |  ]    |  :   |   \   | POWER |
            //               |     |      |      |      |  CODE  |  |       |      |       |       |      |

            display-name = "R  VuNT";
            bindings = <
&bt BT_CLR  &bt BT_SEL 0  &bt BT_SEL 1  &bt BT_SEL 2  &bt BT_SEL 3  &bt BT_SEL 4                                 &kp F7     &kp F8    &kp F9    &kp F10    &kp F11   &kp F12
&trans      &kp GRAVE     &kp TILDE     &td_lt        &td_gt        &kp QMARK                                    &kp ASTRK  &kp LBRC  &kp RBRC  &kp HOME   &kp END   &trans
&schwa      &kp EXCL      &kp AT        &kp HASH      &kp DLLR      &kp PRCNT                                    &kp UNDER  &kp LPAR  &kp RPAR  &kp SEMI   &kp PIPE  &cc
&trans      &kp EQUAL     &kp MINUS     &kp KP_PLUS   &kp AMPS      &kp PIPE      &rgb_ug RGB_TOG    &kp C_MUTE  &kp CARET  &kp LBKT  &kp RBKT  &kp COLON  &kp BSLH  &pwr
                          &trans        &trans        &trans        &mo 3         &pscode            &trans      &trans     &trans    &trans    &trans
            >;

            sensor-bindings = <&tab_browser>, <&inc_dec_kp PG_UP PG_DN>;
        };

        gaeilge_layer {
            // TODO: Some binds are waiting for shifted keycode support.
            // ------------------------------------------------------------------------------------------------------------
            // |       |  ¡  |  °  |  £   |  ¢   |   ±  |                   |      |       |       |      |       |       |
            // |       |     |     |  é   |      |      |                   |      |   ú   |   í   |   ó  |       |       |
            // |       |  á  |  ś  |      |      |      |                   |      |       |       |   ł  |       |       |
            // |       |  ź  |     |  ć   |      |      |        |  |       |  ń   |       |       |      |   ¿   |       |
            //               |     |      |      |      |        |  |       |      |       |       |      |

            display-name = "G  VuNT";
            bindings = <
&kp RS(F1)         &kp RS(F2)        &kp RS(F3)  &kp RS(F4)  &us_cent  &plus_min                    &bt BT_DISC 0  &bt BT_DISC 1  &bt BT_DISC 2    &bt BT_DISC 3    &bt BT_DISC 4    &bt BT_CLR_ALL
&ext_power EP_OFF  &ext_power EP_ON  &trans      &td_sp_e    &trans    &trans                       &bt BT_SEL 0   &bt BT_SEL 1   &bt BT_SEL 2     &bt BT_SEL 3     &bt BT_SEL 4     &rgb_ug RGB_ON
&bt BT_DISC 0      &td_sp_a          &td_sp_s    &trans      &trans    &trans                       &trans         &trans         &trans           &rgb_ug RGB_SAD  &rgb_ug RGB_SPI  &rgb_ug RGB_OFF
&bt BT_DISC 1      &td_sp_z          &trans      &acute_c    &trans    &trans     &trans    &trans  &td_sp_n       &trans         &rgb_ug RGB_EFR  &rgb_ug RGB_BRI  &rgb_ug RGB_HUI  &rgb_ug RGB_EFF
                                     &trans      &trans      &trans    &trans     &trans    &trans  &trans         &trans         &rgb_ug RGB_SPD  &rgb_ug RGB_BRD
            >;

            sensor-bindings = <&rgb_encoder>, <&inc_dec_kp C_VOL_UP C_VOL_DN>;
        };
    };
};
